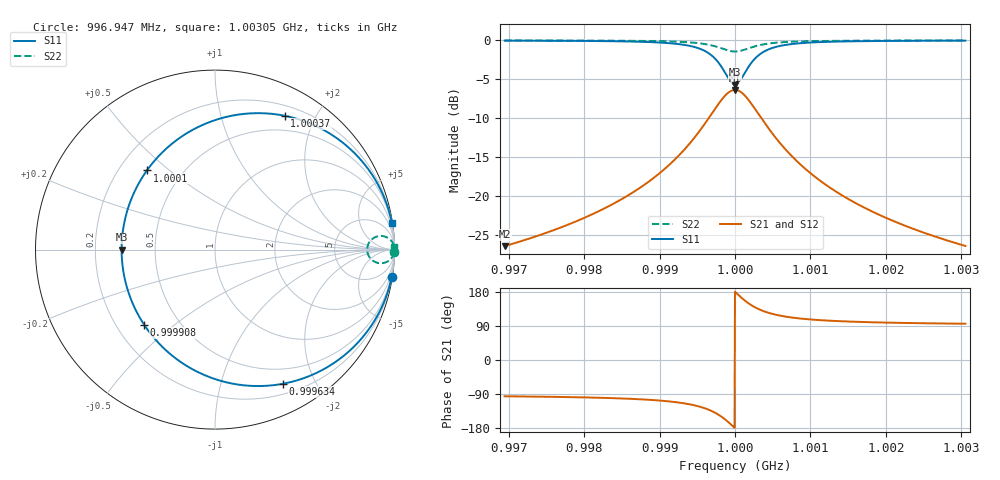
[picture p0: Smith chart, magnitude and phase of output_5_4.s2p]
! File generated for n1 = 5, n2 = 4
! b1 = 4.641589
! b2 = 0.464159
! Q0 = 10000.000000
! f0 = 1000000000.000000
! n = 1001
! rel_span = 10.000000
# Hz S RI R 50
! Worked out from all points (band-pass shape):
!   1001 points, 996.947 MHz to 1.00305 GHz, reference 50 ohm
!   highest |S21| = -6.36 dB at 1 GHz (marker M1); lowest = -26.4 dB at 996.947 MHz (marker M2)
!   |S21| within 3 dB of the highest: 999.6955 MHz to 1.000305 GHz (609.1 kHz wide, 0.0609 % of centre)
!   lowest |S11| = -5.7 dB at 1 GHz (marker M3), VSWR 3.17, Z = 15.8 + j0 ohm
!   |S11| at or under -10 dB: nowhere
!   |S22| runs from -1.4 to 0.0 dB; largest |S21 - S12| = 0
!   S11 on the Smith chart (normalised r, x): 996.947 MHz: 0, -13; 999.634 MHz: 0.32, -1.58; 999.908 MHz: 0.32, -0.39; 1.0001 GHz: 0.32, +0.42; 1.00037 GHz: 0.32, +1.60; 1.00305 GHz: 0, +13
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9.969471e8  0.985 -0.1503  -0.00475 -0.0475  -0.00475 -0.0475  0.9985 -0.015
9.979668e8  0.9665 -0.223  -0.0106 -0.0705  -0.0106 -0.0705  0.9967 -0.0223
9.985468e8  0.9358 -0.3057  -0.0203 -0.0967  -0.0203 -0.0967  0.9936 -0.0306
9.989864e8  0.8737 -0.4197  -0.04 -0.1327  -0.04 -0.1327  0.9874 -0.042
9.993772e8  0.7056 -0.6008  -0.0931 -0.19  -0.0931 -0.19  0.9706 -0.0601
9.995176e8  0.5653 -0.687  -0.1375 -0.2172  -0.1375 -0.2172  0.9565 -0.0687
9.996337e8  0.377 -0.7477  -0.197 -0.2364  -0.197 -0.2364  0.9377 -0.0748
9.997863e8  -0.0203 -0.7143  -0.3227 -0.2259  -0.3227 -0.2259  0.898 -0.0714
9.998474e8  -0.2163 -0.6082  -0.3846 -0.1923  -0.3846 -0.1923  0.8784 -0.0608
9.999084e8  -0.3949 -0.4185  -0.4411 -0.1323  -0.4411 -0.1323  0.8605 -0.0418
1e9  -0.5204 0  -0.4808 0  -0.4808 0  0.848 0
1.000049e9  -0.4825 0.2372  -0.4688 0.075  -0.4688 0.075  0.8518 0.0237
1.000098e9  -0.3792 0.4413  -0.4361 0.1396  -0.4361 0.1396  0.8621 0.0441
1.000153e9  -0.2164 0.6081  -0.3846 0.1923  -0.3846 0.1923  0.8784 0.0608
1.000214e9  -0.0205 0.7143  -0.3227 0.2259  -0.3227 0.2259  0.898 0.0714
1.000281e9  0.1765 0.7576  -0.2604 0.2396  -0.2604 0.2396  0.9176 0.0758
1.000372e9  0.3889 0.7454  -0.1933 0.2357  -0.1933 0.2357  0.9389 0.0745
1.000488e9  0.5728 0.6834  -0.1351 0.2161  -0.1351 0.2161  0.9573 0.0683
1.000629e9  0.7099 0.5974  -0.0917 0.1889  -0.0917 0.1889  0.971 0.0597
1.00102e9  0.8748 0.4179  -0.0396 0.1322  -0.0396 0.1322  0.9875 0.0418
1.002039e9  0.9666 0.2228  -0.0106 0.0705  -0.0106 0.0705  0.9967 0.0223
1.003053e9  0.9849 0.1508  -0.00477 0.0477  -0.00477 0.0477  0.9985 0.0151
